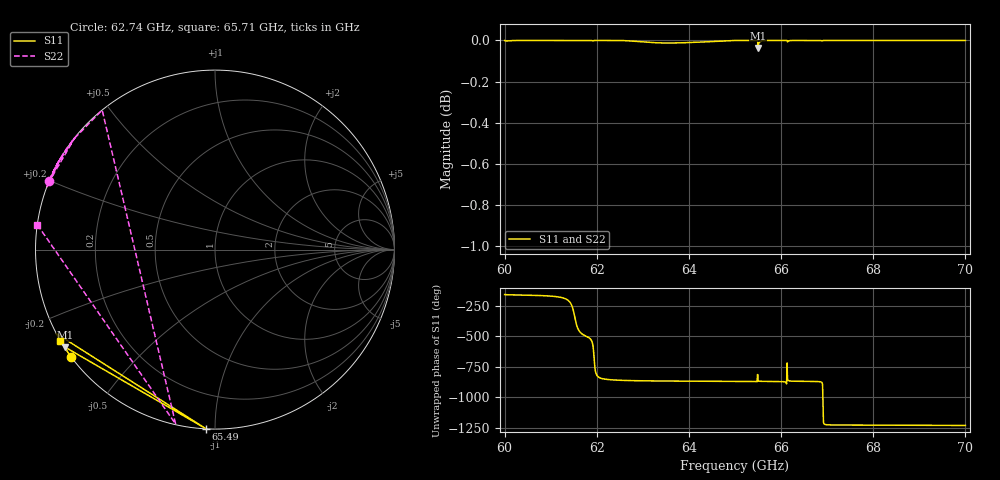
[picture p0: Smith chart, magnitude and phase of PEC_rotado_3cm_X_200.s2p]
! TOUCHSTONE file generated by CST MICROWAVE STUDIO
! Date and time: Sat Feb 17 15:53:19 2024
! Project name: metal_rotado.cst
! Parameters = {PX=2; angX=2; angY=2}
! Header version: 2018
! Port assignment regex: !\s*Touchstone port\s*([0-9]+)\s*=\s*(CST MWS port|CST DS port)\s*([0-9]+|Zmin|Zmax)\s*\(\"(.*)\"\)(\s*mode\s*([0-9]+))?.*
! Touchstone port assignment:
! Touchstone port 1 = CST MWS port 1 ("")
! Touchstone port 2 = CST MWS port 2 ("")
# GHz S MA R 376.7
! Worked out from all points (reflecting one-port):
!   1001 points, 60 GHz to 70 GHz, reference 376.7 ohm
!   lowest |S11| = 0.0 dB at 65.5 GHz (marker M1), VSWR 471.81, Z = 0.869 - j112 ohm
!   phase of S11 starts at -155 deg and turns -1077 deg over the sweep
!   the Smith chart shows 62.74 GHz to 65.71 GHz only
!   S11 on the Smith chart (normalised r, x): 62.74 GHz: 0.00, -0.33; 65.49 GHz: 0.00, -0.95; 65.71 GHz: -0.00, -0.27
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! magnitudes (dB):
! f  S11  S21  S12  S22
! 60 GHz  0.0  -  -  0.0
! 61.67 GHz  0.0  -  -  0.0
! 62.5 GHz  0.0  -  -  0.0
! 62.74 GHz  0.0  -  -  0.0
! 63.34 GHz  0.0  -  -  0.0
! 63.88 GHz  0.0  -  -  0.0
! 65 GHz  0.0  -  -  0.0
! 65.44 GHz  0.0  -  -  0.0
! 65.49 GHz  0.0  -  -  0.0
! 65.5 GHz  0.0  -  -  0.0
! 65.55 GHz  0.0  -  -  0.0
! 65.59 GHz  0.0  -  -  0.0
! 65.71 GHz  0.0  -  -  0.0
! 65.77 GHz  0.0  -  -  0.0
! 66.02 GHz  0.0  -  -  0.0
! 66.17 GHz  0.0  -  -  0.0
! 66.67 GHz  0.0  -  -  0.0
! 67.11 GHz  0.0  -  -  0.0
! 67.23 GHz  0.0  -  -  0.0
! 67.36 GHz  0.0  -  -  0.0
! 68.34 GHz  0.0  -  -  0.0
! 70 GHz  0.0  -  -  0.0
